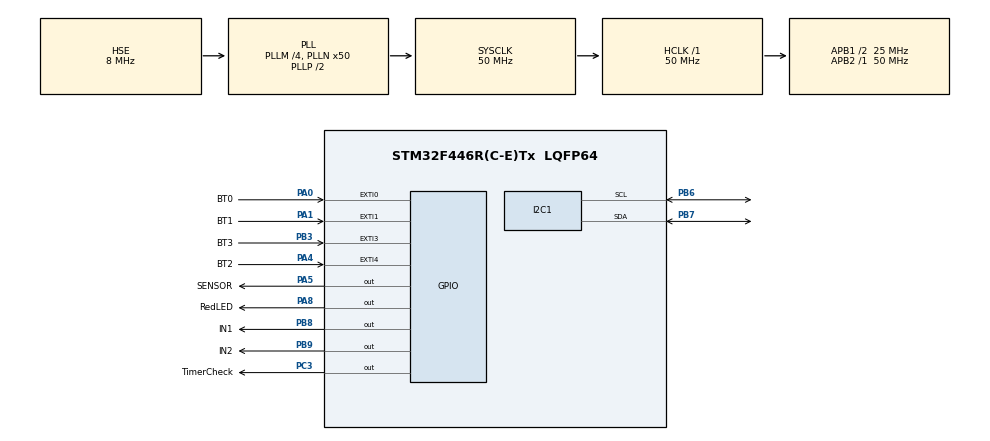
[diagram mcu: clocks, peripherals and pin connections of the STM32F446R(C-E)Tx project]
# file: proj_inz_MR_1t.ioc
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FREERTOS.Mutexes01=HeatMutex01,Dynamic,NULL
FREERTOS.Tasks01=TempTask01,0,256,StartDefaultTask,Default,NULL,Dynamic,NULL,NULL;ScreenTask02,0,256,StartTask02,Default,NULL,Dynamic,NULL,NULL;ControllTask03,0,512,StartTask03,Default,NULL,Dynamic,NULL,NULL
FREERTOS.configCHECK_FOR_STACK_OVERFLOW=1
FREERTOS.configGENERATE_RUN_TIME_STATS=1
FREERTOS.configTOTAL_HEAP_SIZE=32768
FREERTOS.configUSE_IDLE_HOOK=1
I2C1.I2C_Mode=I2C_Fast
Mcu.Family=STM32F4
Mcu.Name=STM32F446R(C-E)Tx
Mcu.Package=LQFP64
NVIC.EXTI0_IRQn=true\:5\:0\:true\:false\:true\:true\:true\:true\:true
NVIC.EXTI1_IRQn=true\:5\:0\:true\:false\:true\:true\:true\:true\:true
NVIC.EXTI3_IRQn=true\:5\:0\:false\:false\:true\:true\:true\:true\:true
NVIC.EXTI4_IRQn=true\:5\:0\:false\:false\:true\:true\:true\:true\:true
NVIC.PriorityGroup=NVIC_PRIORITYGROUP_4
NVIC.TIM1_UP_TIM10_IRQn=true\:15\:0\:false\:false\:true\:false\:false\:true\:true
NVIC.TimeBase=TIM1_UP_TIM10_IRQn
NVIC.TimeBaseIP=TIM1
PA0-WKUP.GPIO_Label=BT0
PA0-WKUP.Signal=GPXTI0
PA1.GPIO_Label=BT1
PA1.Signal=GPXTI1
PA13.Mode=Serial_Wire
PA13.Signal=SYS_JTMS-SWDIO
PA14.Mode=Serial_Wire
PA14.Signal=SYS_JTCK-SWCLK
PA4.GPIO_Label=BT2
PA4.Signal=GPXTI4
PA5.GPIO_Label=SENSOR
PA5.Signal=GPIO_Output
PA8.GPIO_Label=RedLED
PA8.Signal=GPIO_Output
PB3.GPIO_Label=BT3
PB3.Signal=GPXTI3
PB6.GPIO_Pu=GPIO_PULLUP
PB6.Mode=I2C
PB6.Signal=I2C1_SCL
PB7.GPIO_Pu=GPIO_PULLUP
PB7.Mode=I2C
PB7.Signal=I2C1_SDA
PB8.GPIO_Label=IN1
PB8.Signal=GPIO_Output
PB9.GPIO_Label=IN2
PB9.Signal=GPIO_Output
PC3.GPIO_Label=TimerCheck
PC3.Signal=GPIO_Output
PH0-OSC_IN.Mode=HSE-External-Oscillator
PH0-OSC_IN.Signal=RCC_OSC_IN
PH1-OSC_OUT.Mode=HSE-External-Oscillator
PH1-OSC_OUT.Signal=RCC_OSC_OUT
ProjectManager.HeapSize=0x200
ProjectManager.StackSize=0x400
ProjectManager.TargetToolchain=STM32CubeIDE
RCC.AHBFreq_Value=50000000
RCC.APB1CLKDivider=RCC_HCLK_DIV2
RCC.APB1Freq_Value=25000000
RCC.APB1TimFreq_Value=50000000
RCC.APB2Freq_Value=50000000
RCC.APB2TimFreq_Value=50000000
RCC.CortexFreq_Value=50000000
RCC.HCLKFreq_Value=50000000
RCC.HSE_VALUE=8000000
RCC.PLLM=4
RCC.PLLN=50
RCC.PLLSourceVirtual=RCC_PLLSOURCE_HSE
RCC.SYSCLKFreq_VALUE=50000000
RCC.SYSCLKSource=RCC_SYSCLKSOURCE_PLLCLK
RCC.USBFreq_Value=50000000
RCC.VCOOutputFreq_Value=100000000
TIM6.Period=0xffff-1
TIM6.Prescaler=50-1
VP_FREERTOS_VS_CMSIS_V1.Mode=CMSIS_V1
VP_SYS_VS_tim1.Mode=TIM1
VP_TIM6_VS_ClockSourceINT.Mode=Enable_Timer
board=custom

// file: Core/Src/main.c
/* USER CODE BEGIN Header */
/**
  ******************************************************************************
  * @file           : main.c
  * @brief          : Main program body
  ******************************************************************************
  * @attention
  *
  * <h2><center>&copy; Copyright (c) 2021 STMicroelectronics.
  * All rights reserved.</center></h2>
  *
  * This software component is licensed by ST under BSD 3-Clause license,
  * the "License"; You may not use this file except in compliance with the
  * License. You may obtain a copy of the License at:
  *                        opensource.org/licenses/BSD-3-Clause
  *
  ******************************************************************************
  */
/* USER CODE END Header */
#include "main.h"
#include "cmsis_os.h"

/* USER CODE BEGIN Includes */
#include "fonts.h"
#include "ssd1306.h"			//oled ssd1306 taken from https://controllerstech.com/oled-display-using-i2c-stm32/
#include "test.h"
#include "DS18B20.h"
#include <stdio.h>
#include <stdbool.h>

/* USER CODE END Includes */

I2C_HandleTypeDef hi2c1;

TIM_HandleTypeDef htim6;

osThreadId TempTask01Handle;
osThreadId ScreenTask02Handle;
osThreadId ControllTask03Handle;
osMutexId HeatMutex01Handle;
/* USER CODE BEGIN PV */

uint8_t T_byte1 = 0;	// temporary bytes for calculating temperature
uint8_t T_byte2 = 0;
uint16_t TEMP;

float Temperature = 0;
//float Temperature_log[256] = {0};
//int16_t Critical_temp = 120; 	//temp sensors critical temperature max. operational temperature is 125C, moved to .h file as define

float error = 0;				//pid variables  //changing these var to float should result in quicker system response
float integral = 0;
float pwm = 0;

//int16_t error = 0;				//pid variables
//int16_t integral = 0;
//int16_t pwm = 0;
int16_t kp = 10;				//pid controller values,  wspolczynniki
int16_t ki = 1;
uint8_t selection = 0;			//helper variable for target, ki, kp value manipulation

uint8_t Presence = 0;		//helper variable for temp sensor communication
uint16_t Target = 0;
uint8_t i = 0;				//helper variable to check screen value updates

bool RedLEDFlag = false;	//logic status flags
bool BlueLEDFlag = false;
bool TempFlag = false;
bool ManualFlag = false;
char HeatStatus[5] = {0};
/* USER CODE END PV */

void SystemClock_Config(void);
static void MX_GPIO_Init(void);
static void MX_I2C1_Init(void);
static void MX_TIM6_Init(void);
void StartDefaultTask(void const * argument);
void StartTask02(void const * argument);
void StartTask03(void const * argument);

/* USER CODE BEGIN 0 */

void Toggle_Red_Led()		//red led is used to indicate manual operation of heater and error state
{
	if(RedLEDFlag){
		HAL_GPIO_WritePin(RedLED_GPIO_Port, RedLED_Pin, GPIO_PIN_RESET);
		RedLEDFlag = false;
	}
	else{
		HAL_GPIO_WritePin(RedLED_GPIO_Port, RedLED_Pin, GPIO_PIN_SET);
		RedLEDFlag = true;
	}
}

// function separated into 2 functions, was going to delete but I'm using it for manually controlling heating with interupt
void Toggle_heat()
{
	if(TempFlag){
		HAL_GPIO_WritePin(GPIOB, IN1_Pin, GPIO_PIN_RESET);
		TempFlag = false;
		strcpy(HeatStatus, "OFF");
	}
	else{
		HAL_GPIO_WritePin(GPIOB, IN1_Pin, GPIO_PIN_SET);
		TempFlag = true;
		strcpy(HeatStatus, "ON");
	}
}

void Heat_start()
{
	HAL_GPIO_WritePin(GPIOB, IN1_Pin, GPIO_PIN_SET);
	TempFlag = true;
	strcpy(HeatStatus, "ON");
}

void Heat_stop()
{
	HAL_GPIO_WritePin(GPIOB, IN1_Pin, GPIO_PIN_RESET);
	TempFlag = false;
	strcpy(HeatStatus, "OFF");
}

// function for manual control of heating, function is accessed through interrupt
// it needs to use xTaskResumeFromISR
void Heat_manual()
{
	if(ManualFlag){
		xTaskResumeFromISR(ControllTask03Handle);
		ManualFlag = false;
		Toggle_heat();
		Toggle_Red_Led();
	}
	else{
		ManualFlag = true;
		Toggle_heat();
		Toggle_Red_Led();
	}
}

//functions used in interupts to manipulate target,ki,kp values begin here
void Display_target(float Temp)
{

	char str[20] = {0};
	SSD1306_GotoXY (10,10);
	SSD1306_Fill(SSD1306_COLOR_BLACK);
	sprintf (str, "Target: %.2f", Temp);
	SSD1306_Puts (str, &Font_11x18, 1);
	SSD1306_UpdateScreen();

}

void Display_kp(float k)
{

	char str[20] = {0};
	SSD1306_GotoXY (10,10);
	SSD1306_Fill(SSD1306_COLOR_BLACK);
	sprintf (str, "Kp: %.2f", k);
	SSD1306_Puts (str, &Font_11x18, 1);
	SSD1306_UpdateScreen();

}

void Display_ki(float k)
{

	char str[20] = {0};
	SSD1306_GotoXY (10,10);
	SSD1306_Fill(SSD1306_COLOR_BLACK);
	sprintf (str, "Ki: %.2f", k);
	SSD1306_Puts (str, &Font_11x18, 1);
	SSD1306_UpdateScreen();

}

void Increase_value()
{

	if(selection == 2){
		ki++;
		Display_ki(ki);
	}
	else if(selection == 1){
		kp++;
		Display_kp(kp);
	}
	else{
		Target+=5;
		Display_target(Target);
	}
}

void Decrease_value()
{

	if(selection == 2){
		ki--;
		Display_ki(ki);

	}
	else if(selection == 1){
		kp--;
		Display_kp(kp);
	}
	else{
		Target-=5;
		Display_target(Target);
	}
}

void Change_selection()
{
	selection++;
	if(selection>2){
			selection = 0;
		}
	if(selection == 2){
			Display_ki(ki);
		}
		else if(selection == 1){
			Display_kp(kp);
		}
		else{
			Display_target(Target);
		}
}
//functions used in interupts to manipulate target,ki,kp values end here

// Code for communicating and setting up temperature sensor borrowed from https://controllerstech.com/ds18b20-and-stm32/

void delay(uint16_t us)		//delay in us, seems to be acurate but setting delay as in specification does not give proper results
{
	__HAL_TIM_SET_COUNTER(&htim6,0);
	while((__HAL_TIM_GET_COUNTER(&htim6))<us);
}

void Set_Pin_Output (GPIO_TypeDef *GPIOx, uint16_t GPIO_Pin) //onewire functions
{
	GPIO_InitTypeDef GPIO_InitStruct = {0};
	GPIO_InitStruct.Pin = GPIO_Pin;
	GPIO_InitStruct.Mode = GPIO_MODE_OUTPUT_PP;
	GPIO_InitStruct.Speed = GPIO_SPEED_FREQ_LOW;
	HAL_GPIO_Init(GPIOx, &GPIO_InitStruct);
}

void Set_Pin_Input (GPIO_TypeDef *GPIOx, uint16_t GPIO_Pin)
{
	GPIO_InitTypeDef GPIO_InitStruct = {0};
	GPIO_InitStruct.Pin = GPIO_Pin;
	GPIO_InitStruct.Mode = GPIO_MODE_INPUT;
	GPIO_InitStruct.Pull = GPIO_NOPULL; //try changing to nopull if temperature values are incorrect, NOPULL seems to be the answer
	HAL_GPIO_Init(GPIOx, &GPIO_InitStruct);
}

#define DS18B20_PORT GPIOA
#define DS18B20_PIN GPIO_PIN_5

uint8_t DS18B20_Start (void)
{
	uint8_t Response = 0;
	Set_Pin_Output(DS18B20_PORT, DS18B20_PIN);   // set the pin as output
	HAL_GPIO_WritePin (DS18B20_PORT, DS18B20_PIN, 0);  // pull the pin low
	delay (480);   // delay according to datasheet

	Set_Pin_Input(DS18B20_PORT, DS18B20_PIN);    // set the pin as input
	delay (60);    // delay, according to datasheet supposed to be 60us

	if (!(HAL_GPIO_ReadPin (DS18B20_PORT, DS18B20_PIN))) Response = 1;    // if the pin is low i.e the presence pulse is detected
	else Response = -1;

	delay (420);

	return Response;
}

void DS18B20_Write (uint8_t data)
{
	Set_Pin_Output(DS18B20_PORT, DS18B20_PIN);  // set as output

	for (int i=0; i<8; i++)
	{

		if ((data & (1<<i))!=0)  // if the bit is high
		{
			// write 1

			Set_Pin_Output(DS18B20_PORT, DS18B20_PIN);  // set as output
			HAL_GPIO_WritePin (DS18B20_PORT, DS18B20_PIN, 0);  // pull the pin LOW
			delay (1);  // wait for 1 us

			Set_Pin_Input(DS18B20_PORT, DS18B20_PIN);  // set as input
			delay (60);  // wait for 60 us, if values seem wrong might need to decresse
		}

		else  // if the bit is low
		{
			// writeTreshold = 30; 0

			Set_Pin_Output(DS18B20_PORT, DS18B20_PIN);
			HAL_GPIO_WritePin (DS18B20_PORT, DS18B20_PIN, 0);  // pull the pin LOW
			delay (60);  // wait for 60 us

			Set_Pin_Input(DS18B20_PORT, DS18B20_PIN);
		}
	}
}

uint8_t DS18B20_Read (void)
{
	uint8_t value=0;

	Set_Pin_Input(DS18B20_PORT, DS18B20_PIN);

	for (int i=0;i<8;i++)
	{
		Set_Pin_Output(DS18B20_PORT, DS18B20_PIN);   // set as output

		HAL_GPIO_WritePin (DS18B20_PORT, DS18B20_PIN, 0);  // pull the data pin LOW
		delay (2);  // wait for > 1us

		Set_Pin_Input(DS18B20_PORT, DS18B20_PIN);  // set as input
		if (HAL_GPIO_ReadPin (DS18B20_PORT, DS18B20_PIN))  // if the pin is HIGH
		{
			value |= 1<<i;  // read = 1
		}
		delay (60);  // wait for 60 us
	}
	return value;
}

float Temperature_pull(void)
{
		float value=0;
		Presence = DS18B20_Start ();
		delay (1);
		DS18B20_Write (0xCC);  // skip ROM
		DS18B20_Write (0x44);  // convert t
		delay (800);

		Presence = DS18B20_Start ();
	    delay(1);
	    DS18B20_Write (0xCC);  // skip ROM
	    DS18B20_Write (0xBE);  // Read Scratch-pad

	    T_byte1 = DS18B20_Read();
		T_byte2 = DS18B20_Read();
		TEMP = (T_byte2<<8)|T_byte1;	//combining bytes into temperature readout
		value = (float)TEMP/16;

		return value;
}

/* USER CODE END 0 */

int main(void)
{

  /* MCU Configuration--------------------------------------------------------*/

  /* Reset of all peripherals, Initializes the Flash interface and the Systick. */
  HAL_Init();

  /* Configure the system clock */
  SystemClock_Config();

  /* Initialize all configured peripherals */
  MX_GPIO_Init();
  MX_I2C1_Init();
  MX_TIM6_Init();
  /* USER CODE BEGIN 2 */

  HAL_TIM_Base_Start(&htim6);
  SSD1306_Init ();

  // displaying starting message and making sure heating is turned of
  SSD1306_GotoXY (10,10); 						// goto 10, 10
  SSD1306_Puts ("STARTING", &Font_11x18, 1); 	// print starting
  SSD1306_UpdateScreen(); 						// update screen

  Heat_stop();			//make sure heat is off

  Temperature_pull(); 	//pulling temperature to establish communication with sensor
  osDelay(1000);		//wait 1 second for the looks of things

  /* USER CODE END 2 */

  /* Create the mutex(es) */
  /* definition and creation of HeatMutex01 */
  osMutexDef(HeatMutex01);
  HeatMutex01Handle = osMutexCreate(osMutex(HeatMutex01));

  /* Create the thread(s) */
  /* definition and creation of TempTask01 */
  osThreadDef(TempTask01, StartDefaultTask, osPriorityNormal, 0, 256);
  TempTask01Handle = osThreadCreate(osThread(TempTask01), NULL);

  /* definition and creation of ScreenTask02 */
  osThreadDef(ScreenTask02, StartTask02, osPriorityNormal, 0, 256);
  ScreenTask02Handle = osThreadCreate(osThread(ScreenTask02), NULL);

  /* definition and creation of ControllTask03 */
  osThreadDef(ControllTask03, StartTask03, osPriorityNormal, 0, 512);
  ControllTask03Handle = osThreadCreate(osThread(ControllTask03), NULL);

  /* Start scheduler */
  osKernelStart();

  /* We should never get here as control is now taken by the scheduler */
  /* Infinite loop */
  while (1)
  {

  }
}

void SystemClock_Config(void)
{
  RCC_OscInitTypeDef RCC_OscInitStruct = {0};
  RCC_ClkInitTypeDef RCC_ClkInitStruct = {0};

  /** Configure the main internal regulator output voltage
  */
  __HAL_RCC_PWR_CLK_ENABLE();
  __HAL_PWR_VOLTAGESCALING_CONFIG(PWR_REGULATOR_VOLTAGE_SCALE3);

  /** Initializes the RCC Oscillators according to the specified parameters
  * in the RCC_OscInitTypeDef structure.
  */
  RCC_OscInitStruct.OscillatorType = RCC_OSCILLATORTYPE_HSE;
  RCC_OscInitStruct.HSEState = RCC_HSE_ON;
  RCC_OscInitStruct.PLL.PLLState = RCC_PLL_ON;
  RCC_OscInitStruct.PLL.PLLSource = RCC_PLLSOURCE_HSE;
  RCC_OscInitStruct.PLL.PLLM = 4;
  RCC_OscInitStruct.PLL.PLLN = 50;
  RCC_OscInitStruct.PLL.PLLP = RCC_PLLP_DIV2;
  RCC_OscInitStruct.PLL.PLLQ = 2;
  RCC_OscInitStruct.PLL.PLLR = 2;
  if (HAL_RCC_OscConfig(&RCC_OscInitStruct) != HAL_OK)
  {
    Error_Handler();
  }

  /** Initializes the CPU, AHB and APB buses clocks
  */
  RCC_ClkInitStruct.ClockType = RCC_CLOCKTYPE_HCLK|RCC_CLOCKTYPE_SYSCLK
                              |RCC_CLOCKTYPE_PCLK1|RCC_CLOCKTYPE_PCLK2;
  RCC_ClkInitStruct.SYSCLKSource = RCC_SYSCLKSOURCE_PLLCLK;
  RCC_ClkInitStruct.AHBCLKDivider = RCC_SYSCLK_DIV1;
  RCC_ClkInitStruct.APB1CLKDivider = RCC_HCLK_DIV2;
  RCC_ClkInitStruct.APB2CLKDivider = RCC_HCLK_DIV1;

  if (HAL_RCC_ClockConfig(&RCC_ClkInitStruct, FLASH_LATENCY_1) != HAL_OK)
  {
    Error_Handler();
  }
}

static void MX_I2C1_Init(void)
{

  hi2c1.Instance = I2C1;
  hi2c1.Init.ClockSpeed = 400000;
  hi2c1.Init.DutyCycle = I2C_DUTYCYCLE_2;
  hi2c1.Init.OwnAddress1 = 0;
  hi2c1.Init.AddressingMode = I2C_ADDRESSINGMODE_7BIT;
  hi2c1.Init.DualAddressMode = I2C_DUALADDRESS_DISABLE;
  hi2c1.Init.OwnAddress2 = 0;
  hi2c1.Init.GeneralCallMode = I2C_GENERALCALL_DISABLE;
  hi2c1.Init.NoStretchMode = I2C_NOSTRETCH_DISABLE;
  if (HAL_I2C_Init(&hi2c1) != HAL_OK)
  {
    Error_Handler();
  }

}

static void MX_TIM6_Init(void)
{

  TIM_MasterConfigTypeDef sMasterConfig = {0};

  htim6.Instance = TIM6;
  htim6.Init.Prescaler = 50-1;
  htim6.Init.CounterMode = TIM_COUNTERMODE_UP;
  htim6.Init.Period = 0xffff-1;
  htim6.Init.AutoReloadPreload = TIM_AUTORELOAD_PRELOAD_DISABLE;
  if (HAL_TIM_Base_Init(&htim6) != HAL_OK)
  {
    Error_Handler();
  }
  sMasterConfig.MasterOutputTrigger = TIM_TRGO_RESET;
  sMasterConfig.MasterSlaveMode = TIM_MASTERSLAVEMODE_DISABLE;
  if (HAL_TIMEx_MasterConfigSynchronization(&htim6, &sMasterConfig) != HAL_OK)
  {
    Error_Handler();
  }

}

static void MX_GPIO_Init(void)
{
  GPIO_InitTypeDef GPIO_InitStruct = {0};

  /* GPIO Ports Clock Enable */
  __HAL_RCC_GPIOH_CLK_ENABLE();
  __HAL_RCC_GPIOC_CLK_ENABLE();
  __HAL_RCC_GPIOA_CLK_ENABLE();
  __HAL_RCC_GPIOB_CLK_ENABLE();

  /*Configure GPIO pin Output Level */
  HAL_GPIO_WritePin(TimerCheck_GPIO_Port, TimerCheck_Pin, GPIO_PIN_RESET);

  /*Configure GPIO pin Output Level */
  HAL_GPIO_WritePin(GPIOA, SENSOR_Pin|RedLED_Pin, GPIO_PIN_RESET);

  /*Configure GPIO pin Output Level */
  HAL_GPIO_WritePin(GPIOB, IN1_Pin|IN2_Pin, GPIO_PIN_RESET);

  /*Configure GPIO pin : TimerCheck_Pin */
  GPIO_InitStruct.Pin = TimerCheck_Pin;
  GPIO_InitStruct.Mode = GPIO_MODE_OUTPUT_PP;
  GPIO_InitStruct.Pull = GPIO_NOPULL;
  GPIO_InitStruct.Speed = GPIO_SPEED_FREQ_LOW;
  HAL_GPIO_Init(TimerCheck_GPIO_Port, &GPIO_InitStruct);

  /*Configure GPIO pins : BT0_Pin BT1_Pin BT2_Pin */
  GPIO_InitStruct.Pin = BT0_Pin|BT1_Pin|BT2_Pin;
  GPIO_InitStruct.Mode = GPIO_MODE_IT_RISING;
  GPIO_InitStruct.Pull = GPIO_NOPULL;
  HAL_GPIO_Init(GPIOA, &GPIO_InitStruct);

  /*Configure GPIO pins : SENSOR_Pin RedLED_Pin */
  GPIO_InitStruct.Pin = SENSOR_Pin|RedLED_Pin;
  GPIO_InitStruct.Mode = GPIO_MODE_OUTPUT_PP;
  GPIO_InitStruct.Pull = GPIO_NOPULL;
  GPIO_InitStruct.Speed = GPIO_SPEED_FREQ_LOW;
  HAL_GPIO_Init(GPIOA, &GPIO_InitStruct);

  /*Configure GPIO pin : BT3_Pin */
  GPIO_InitStruct.Pin = BT3_Pin;
  GPIO_InitStruct.Mode = GPIO_MODE_IT_RISING;
  GPIO_InitStruct.Pull = GPIO_NOPULL;
  HAL_GPIO_Init(BT3_GPIO_Port, &GPIO_InitStruct);

  /*Configure GPIO pins : IN1_Pin IN2_Pin */
  GPIO_InitStruct.Pin = IN1_Pin|IN2_Pin;
  GPIO_InitStruct.Mode = GPIO_MODE_OUTPUT_PP;
  GPIO_InitStruct.Pull = GPIO_NOPULL;
  GPIO_InitStruct.Speed = GPIO_SPEED_FREQ_LOW;
  HAL_GPIO_Init(GPIOB, &GPIO_InitStruct);

  /* EXTI interrupt init*/
  HAL_NVIC_SetPriority(EXTI0_IRQn, 5, 0);
  HAL_NVIC_EnableIRQ(EXTI0_IRQn);

  HAL_NVIC_SetPriority(EXTI1_IRQn, 5, 0);
  HAL_NVIC_EnableIRQ(EXTI1_IRQn);

  HAL_NVIC_SetPriority(EXTI3_IRQn, 5, 0);
  HAL_NVIC_EnableIRQ(EXTI3_IRQn);

  HAL_NVIC_SetPriority(EXTI4_IRQn, 5, 0);
  HAL_NVIC_EnableIRQ(EXTI4_IRQn);

}

void StartDefaultTask(void const * argument)
{
  /* USER CODE BEGIN 5 */
	//int counter = 0;
	osDelay(1000); //added to avoid conflict with initialization
  /* Infinite loop */
  for(;;)
  {

	 //Task for getting temperature values from sensor

	  if(HeatMutex01Handle != NULL){

		  //checking if semaphore is available and taking it, if not available wait 10
		  if(xSemaphoreTake(HeatMutex01Handle, (TickType_t) 10) == pdTRUE){
			  //semaphore obtained, work starts here

			  Temperature = Temperature_pull();
			  //Temperature_log[counter] = Temperature; //using stmcubemonitor for logging, leaving this as comment
			  //counter++;

			 // checking if temperature is above critical and shuting down heating and controll task
			  if(Temperature > Critical_temp){
			  		vTaskSuspend(ControllTask03Handle);
			  		HAL_GPIO_WritePin(GPIOB, IN1_Pin, GPIO_PIN_RESET);
			  		TempFlag = false;
			  		strcpy(HeatStatus, "ERR");
				  	HAL_GPIO_WritePin(RedLED_GPIO_Port, RedLED_Pin, GPIO_PIN_SET);
				  	RedLEDFlag = true;
			  	  }

			  // work ends giving back semaphore
			  xSemaphoreGive(HeatMutex01Handle);

		  }
	  }
	  else{
		  //could not obtain semaphore dont know what exactly to put here
	  }

	  osDelay(10000);  //wait 10 seconds

	//if(counter >= 256){
	//	  counter = 0;
	// }

  }
  /* USER CODE END 5 */
}

void StartTask02(void const * argument)
{
  /* USER CODE BEGIN StartTask02 */

	//SCREEN TASK

	char str2[20] = {0};			//helper strings for displaying values on screen
	char str3[20] = {0};

  /* Infinite loop */
  for(;;)
  {
	  //counter for checking if screen and device is operational
	  if(i==250){
		  i=0;
	  }
	  i++;

	  SSD1306_Clear();
	  osDelay(10);

	  //testing new way
	  SSD1306_GotoXY (10,10); 						// goto 10, 10
	  SSD1306_Fill(SSD1306_COLOR_BLACK);
	  sprintf (str2, "Temp: %.2f", Temperature);
	  SSD1306_Puts (str2, &Font_11x18, 1); 			// print temperature

 	  //print counter on screen TODO might change counter to a visual kind with 4 steps (-,--,---,----)
	  SSD1306_GotoXY (80,40);
	  sprintf (str3, "%u", i);
	  SSD1306_Puts (str3, &Font_11x18, 1);	//print additional info

	  //print heating status
	  SSD1306_GotoXY (10,40);
	  SSD1306_Puts (HeatStatus, &Font_11x18, 1);	//print on/off/err

	  SSD1306_UpdateScreen();

	  osDelay(2000); 	//wait for 2 seconds

  }
  /* USER CODE END StartTask02 */
}

/* USER CODE BEGIN Header_StartTask03 */
/**
* @brief
* @param argument: Not used
* @retval None
*/
/* USER CODE END Header_StartTask03 */
void StartTask03(void const * argument)
{
  /* USER CODE BEGIN StartTask03 */

  /* Infinite loop */
  for(;;)
  {
	  // PI controller task

	  if(ManualFlag){
	  	 	  	  	vTaskSuspend(ControllTask03Handle);
	  	 	  }

	  if(HeatMutex01Handle != NULL){

	  		  //checking if semaphore is available and taking it, if not available wait 10
	  		  if(xSemaphoreTake(HeatMutex01Handle, (TickType_t) 10) == pdTRUE){
	  			  //semaphore obtained, work starts here

	  			  // PI controller code
	  			  error = Target - Temperature;
	  			  integral = integral + error;

	  			  //pwm = kp * error;
	  			  pwm = (kp * error) + (ki * integral);

	  			  // restricting pwm and integral values

	  			  if (integral > 256){
	  				  integral = 256;
	  			  }
	  			  else if (integral < -256){
	  				  integral = -256;
	  			  }

	  			  if (pwm > 256){
	  				  pwm = 256;
	  			  }
	  			  else if (pwm < -256){
	  				  pwm = -256;
	  			  }

	  			  //controlling heat
	  			  // TODO look and pwm implementation in stm32 nucleo boards
	  			  if(pwm > 0){
	  				  Heat_start();
	  			  }
	  			  else if (pwm < 0){
	  				  Heat_stop();
	  			  }
	  			  else {
	  				  Heat_stop();
	  			  }

	  			  // work ends giving back mutex
	  			  xSemaphoreGive(HeatMutex01Handle);
	  		  }
	  	  }
	  	  else{
	  		  //could not obtain semaphore dont know what exactly to put here
	  	  }

	  osDelay(10000);  //wait 10 seconds

  }
  /* USER CODE END StartTask03 */
}

void HAL_TIM_PeriodElapsedCallback(TIM_HandleTypeDef *htim)
{
  if (htim->Instance == TIM1) {
    HAL_IncTick();
  }
}

void Error_Handler(void)
{
  __disable_irq();
  while (1)
  {
  }
}

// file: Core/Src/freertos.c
/* USER CODE BEGIN Header */
/**
  ******************************************************************************
  * File Name          : freertos.c
  * Description        : Code for freertos applications
  ******************************************************************************
  * @attention
  *
  * <h2><center>&copy; Copyright (c) 2021 STMicroelectronics.
  * All rights reserved.</center></h2>
  *
  * This software component is licensed by ST under Ultimate Liberty license
  * SLA0044, the "License"; You may not use this file except in compliance with
  * the License. You may obtain a copy of the License at:
  *                             www.st.com/SLA0044
  *
  ******************************************************************************
  */
/* USER CODE END Header */

#include "FreeRTOS.h"
#include "task.h"
#include "main.h"

/* GetIdleTaskMemory prototype (linked to static allocation support) */
void vApplicationGetIdleTaskMemory( StaticTask_t **ppxIdleTaskTCBBuffer, StackType_t **ppxIdleTaskStackBuffer, uint32_t *pulIdleTaskStackSize );

/* Hook prototypes */
void configureTimerForRunTimeStats(void);
unsigned long getRunTimeCounterValue(void);
void vApplicationIdleHook(void);
void vApplicationStackOverflowHook(xTaskHandle xTask, signed char *pcTaskName);

/* USER CODE BEGIN 1 */
/* Functions needed when configGENERATE_RUN_TIME_STATS is on */
__weak void configureTimerForRunTimeStats(void)
{

}

__weak unsigned long getRunTimeCounterValue(void)
{
return 0;
}
/* USER CODE END 1 */

/* USER CODE BEGIN 2 */
__weak void vApplicationIdleHook( void )
{
   /* vApplicationIdleHook() will only be called if configUSE_IDLE_HOOK is set
   to 1 in FreeRTOSConfig.h. It will be called on each iteration of the idle
   task. It is essential that code added to this hook function never attempts
   to block in any way (for example, call xQueueReceive() with a block time
   specified, or call vTaskDelay()). If the application makes use of the
   vTaskDelete() API function (as this demo application does) then it is also
   important that vApplicationIdleHook() is permitted to return to its calling
   function, because it is the responsibility of the idle task to clean up
   memory allocated by the kernel to any task that has since been deleted. */
}
/* USER CODE END 2 */

/* USER CODE BEGIN 4 */
__weak void vApplicationStackOverflowHook(xTaskHandle xTask, signed char *pcTaskName)
{
   /* Run time stack overflow checking is performed if
   configCHECK_FOR_STACK_OVERFLOW is defined to 1 or 2. This hook function is
   called if a stack overflow is detected. */

	//Toggle_Stack_Led();

}
/* USER CODE END 4 */

/* USER CODE BEGIN GET_IDLE_TASK_MEMORY */
static StaticTask_t xIdleTaskTCBBuffer;
static StackType_t xIdleStack[configMINIMAL_STACK_SIZE];

void vApplicationGetIdleTaskMemory( StaticTask_t **ppxIdleTaskTCBBuffer, StackType_t **ppxIdleTaskStackBuffer, uint32_t *pulIdleTaskStackSize )
{
  *ppxIdleTaskTCBBuffer = &xIdleTaskTCBBuffer;
  *ppxIdleTaskStackBuffer = &xIdleStack[0];
  *pulIdleTaskStackSize = configMINIMAL_STACK_SIZE;
  /* place for user code */
}
/* USER CODE END GET_IDLE_TASK_MEMORY */
